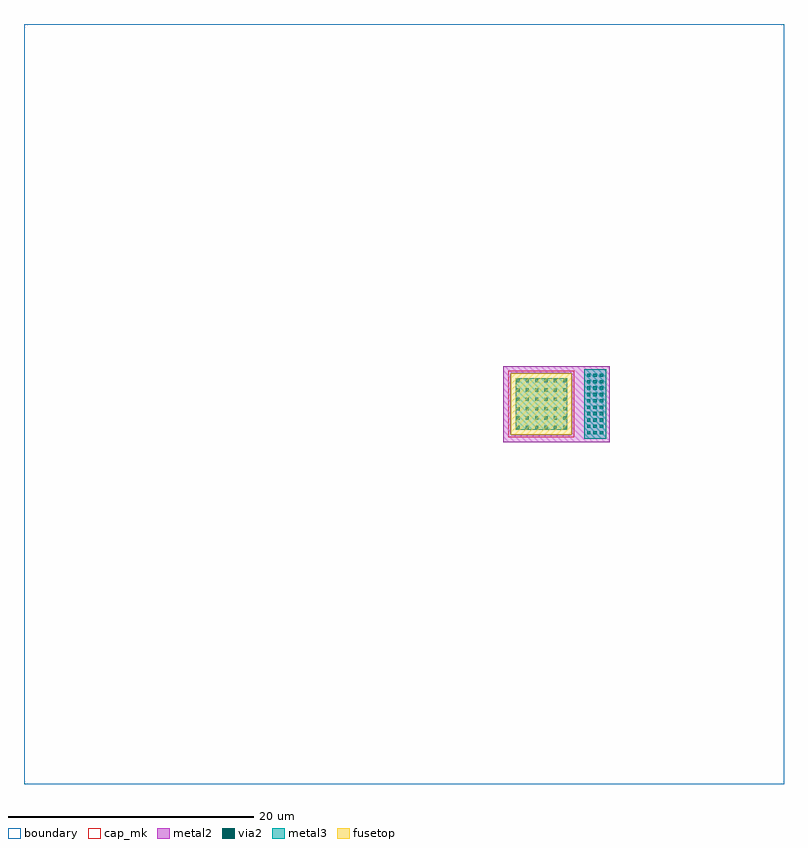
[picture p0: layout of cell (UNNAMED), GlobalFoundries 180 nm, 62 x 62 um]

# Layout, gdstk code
import gdstk
lib = gdstk.Library(unit=1e-6, precision=1e-09)
def R(c, l, rs):  # rectangles x0, y0, x1, y1
    for r in rs: c.add(gdstk.rectangle(r[:2], r[2:], *l))
def A(c, l, x, y, w, h, nx, ny, dx, dy):  # array of equal rectangles
    R(c, l, [(x+i*dx, y+j*dy, x+i*dx+w, y+j*dy+h) for i in range(nx) for j in range(ny)])
boundary = (0, 0)
metal2 = (36, 0)
via2 = (38, 0)
metal3 = (42, 0)
fusetop = (75, 0)
cap_mk = (117, 5)

c__unnamed_ = lib.new_cell('(UNNAMED)')
R(c__unnamed_, boundary, [(-43.45,-31,18.55,31)])
R(c__unnamed_, metal2, [(-4.345,-3.1,4.345,-2.5), (-4.345,-2.5,-3.745,2.5), (1.255,-2.5,4.345,2.5), (-4.345,2.5,4.345,3.1)])
A(c__unnamed_, via2, 2.485, -2.47, 0.26, 0.26, 3, 10, 0.52, 0.52)
A(c__unnamed_, via2, -3.275, -2.03, 0.26, 0.26, 6, 6, 0.76, 0.76)
R(c__unnamed_, metal3, [(2.235,-2.845,4.035,2.845), (-3.345,-2.1,0.855,2.1)])
R(c__unnamed_, fusetop, [(-3.745,-2.5,1.255,2.5)])
R(c__unnamed_, cap_mk, [(-3.945,-2.7,1.455,2.7)])

lib.write_gds('_UNNAMED_.gds')
